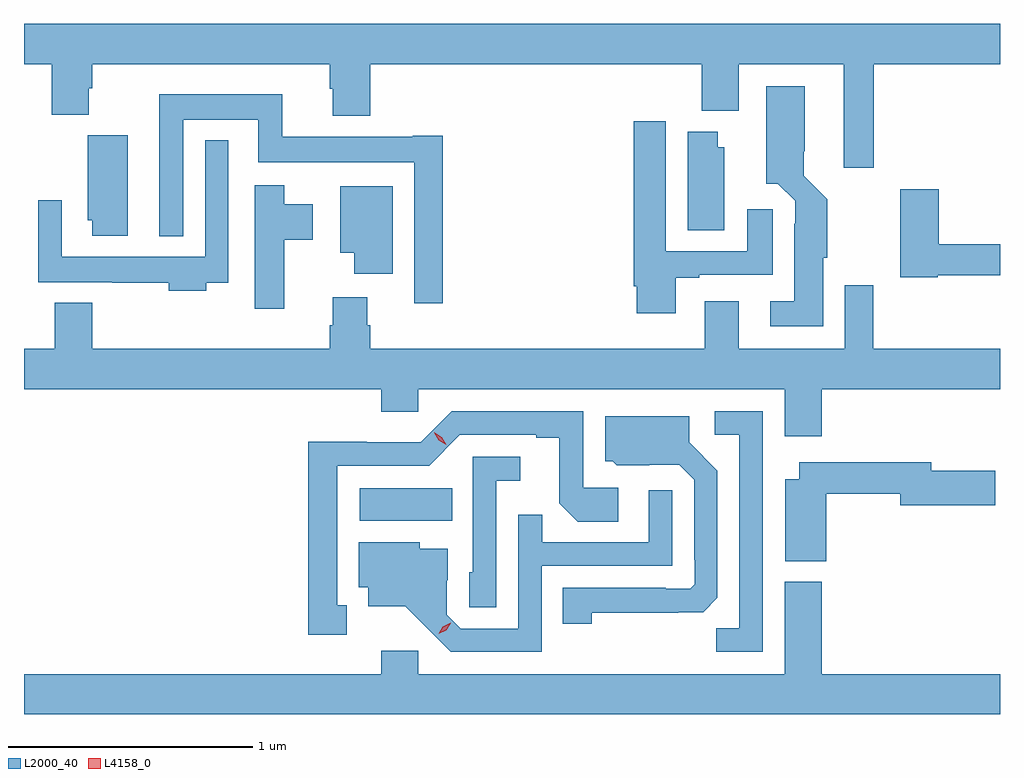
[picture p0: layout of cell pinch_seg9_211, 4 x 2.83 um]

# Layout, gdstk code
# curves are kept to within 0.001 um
import gdstk
lib = gdstk.Library(unit=1e-6, precision=1e-09)
def R(c, l, rs):  # rectangles x0, y0, x1, y1
    for r in rs: c.add(gdstk.rectangle(r[:2], r[2:], *l))
def P(c, l, *ps):  # polygons
    for p in ps: c.add(gdstk.Polygon(p, *l))
L2000_40 = (2000, 40)
L4158_0 = (4158, 0)

pinch_seg9_211 = lib.new_cell('pinch_seg9_211')
R(pinch_seg9_211, L2000_40, [(593.364,1245.164,593.744,1245.298)])
P(pinch_seg9_211, L2000_40, [(595.472,1247.036),(595.989,1247.036),(595.989,1247.2),(591.989,1247.2),(591.989,1247.036),(592.103,1247.036),(592.103,1246.828),(592.255,1246.828),(592.255,1246.937),(592.268,1246.937),(592.268,1247.036),(593.243,1247.036),(593.243,1246.935),(593.255,1246.935),(593.255,1246.823),(593.408,1246.823),(593.408,1247.036),(594.767,1247.036),(594.767,1246.844),(594.919,1246.844),(594.919,1247.036),(595.349,1247.036),(595.349,1246.611),(595.472,1246.611)],
  [(595.264,1246.242),(595.282,1246.242),(595.282,1246.482),(595.185,1246.579),(595.185,1246.678),(595.189,1246.678),(595.189,1246.945),(595.031,1246.945),(595.031,1246.546),(595.079,1246.546),(595.149,1246.476),(595.149,1246.382),(595.145,1246.382),(595.145,1246.063),(595.047,1246.063),(595.047,1245.962),(595.264,1245.962)],
  [(593.705,1246.741),(593.582,1246.741),(593.582,1246.738),(593.048,1246.738),(593.048,1246.912),(592.544,1246.912),(592.544,1246.331),(592.641,1246.331),(592.641,1246.808),(592.95,1246.808),(592.95,1246.634),(593.589,1246.634),(593.589,1246.056),(593.705,1246.056)],
  [(594.661,1246.161),(594.757,1246.161),(594.757,1246.173),(595.057,1246.173),(595.057,1246.441),(594.953,1246.441),(594.953,1246.269),(594.619,1246.269),(594.619,1246.801),(594.488,1246.801),(594.488,1246.126),(594.5,1246.126),(594.5,1246.014),(594.661,1246.014)],
  [(594.859,1246.695),(594.832,1246.695),(594.832,1246.759),(594.71,1246.759),(594.71,1246.354),(594.859,1246.354)],
  [(592.414,1246.743),(592.25,1246.743),(592.25,1246.395),(592.268,1246.395),(592.268,1246.332),(592.414,1246.332)],
  [(592.735,1246.14),(592.827,1246.14),(592.827,1246.723),(592.731,1246.723),(592.731,1246.246),(592.143,1246.246),(592.143,1246.477),(592.047,1246.477),(592.047,1246.142),(592.351,1246.142),(592.351,1246.14),(592.583,1246.14),(592.583,1246.106),(592.735,1246.106)],
  [(593.056,1246.315),(593.173,1246.315),(593.173,1246.462),(593.056,1246.462),(593.056,1246.54),(592.934,1246.54),(592.934,1246.032),(593.056,1246.032)],
  [(593.5,1246.534),(593.285,1246.534),(593.285,1246.262),(593.342,1246.262),(593.342,1246.176),(593.5,1246.176)],
  [(595.734,1246.17),(595.989,1246.17),(595.989,1246.298),(595.738,1246.298),(595.738,1246.522),(595.58,1246.522),(595.58,1246.162),(595.734,1246.162)],
  [(595.259,1245.704),(595.989,1245.704),(595.989,1245.868),(595.469,1245.868),(595.469,1246.129),(595.353,1246.129),(595.353,1245.868),(594.919,1245.868),(594.919,1246.063),(594.779,1246.063),(594.779,1245.868),(593.408,1245.868),(593.408,1245.966),(593.395,1245.966),(593.395,1246.081),(593.255,1246.081),(593.255,1245.966),(593.243,1245.966),(593.243,1245.868),(592.268,1245.868),(592.268,1246.057),(592.115,1246.057),(592.115,1245.868),(591.989,1245.868),(591.989,1245.704),(593.453,1245.704),(593.453,1245.611),(593.604,1245.611),(593.604,1245.704),(595.106,1245.704),(595.106,1245.51),(595.259,1245.51)],
  [(593.311,1244.817),(593.272,1244.817),(593.272,1245.39),(593.649,1245.39),(593.775,1245.516),(594.089,1245.516),(594.089,1245.504),(594.183,1245.504),(594.183,1245.236),(594.259,1245.16),(594.424,1245.16),(594.424,1245.3),(594.282,1245.3),(594.282,1245.612),(593.742,1245.612),(593.616,1245.486),(593.394,1245.486),(593.394,1245.488),(593.154,1245.488),(593.154,1244.697),(593.311,1244.697)],
  [(595.017,1245.612),(594.819,1245.612),(594.819,1245.516),(594.921,1245.516),(594.921,1244.723),(594.826,1244.723),(594.826,1244.628),(595.017,1244.628)],
  [(594.315,1244.788),(594.772,1244.789),(594.831,1244.848),(594.831,1245.37),(594.715,1245.486),(594.715,1245.592),(594.371,1245.592),(594.371,1245.408),(594.402,1245.408),(594.418,1245.392),(594.675,1245.393),(594.735,1245.333),(594.735,1245.004),(594.738,1245.004),(594.738,1244.904),(594.72,1244.886),(594.62,1244.886),(594.62,1244.889),(594.196,1244.889),(594.196,1244.742),(594.315,1244.742)],
  [(593.925,1245.329),(594.022,1245.329),(594.022,1245.426),(593.829,1245.426),(593.829,1244.952),(593.814,1244.952),(593.814,1244.809),(593.925,1244.809)],
  [(595.276,1245.274),(595.58,1245.274),(595.58,1245.227),(595.969,1245.227),(595.969,1245.369),(595.708,1245.369),(595.708,1245.403),(595.166,1245.403),(595.166,1245.334),(595.109,1245.334),(595.109,1244.999),(595.276,1244.999)],
  [(594.111,1244.979),(594.645,1244.979),(594.645,1245.289),(594.549,1245.289),(594.549,1245.075),(594.113,1245.075),(594.113,1245.188),(594.015,1245.188),(594.015,1244.721),(593.778,1244.721),(593.721,1244.778),(593.721,1244.92),(593.725,1244.92),(593.725,1245.049),(593.61,1245.049),(593.61,1245.076),(593.36,1245.076),(593.36,1244.892),(593.399,1244.892),(593.399,1244.813),(593.551,1244.813),(593.738,1244.628),(594.111,1244.628)],
  [(595.989,1244.536),(595.259,1244.536),(595.259,1244.914),(595.106,1244.914),(595.106,1244.536),(593.604,1244.536),(593.604,1244.632),(593.453,1244.632),(593.453,1244.536),(591.989,1244.536),(591.989,1244.372),(595.989,1244.372)])
P(pinch_seg9_211, L4158_0, [(593.689,1244.7),(593.689,1244.7),(593.706,1244.73),(593.737,1244.746),(593.737,1244.746),(593.737,1244.745),(593.72,1244.716),(593.689,1244.7)],
  [(593.72,1245.475),(593.688,1245.493),(593.67,1245.525),(593.67,1245.526),(593.67,1245.526),(593.702,1245.507),(593.72,1245.475),(593.72,1245.475)])

lib.write_gds('pinch_seg9_211.gds')
